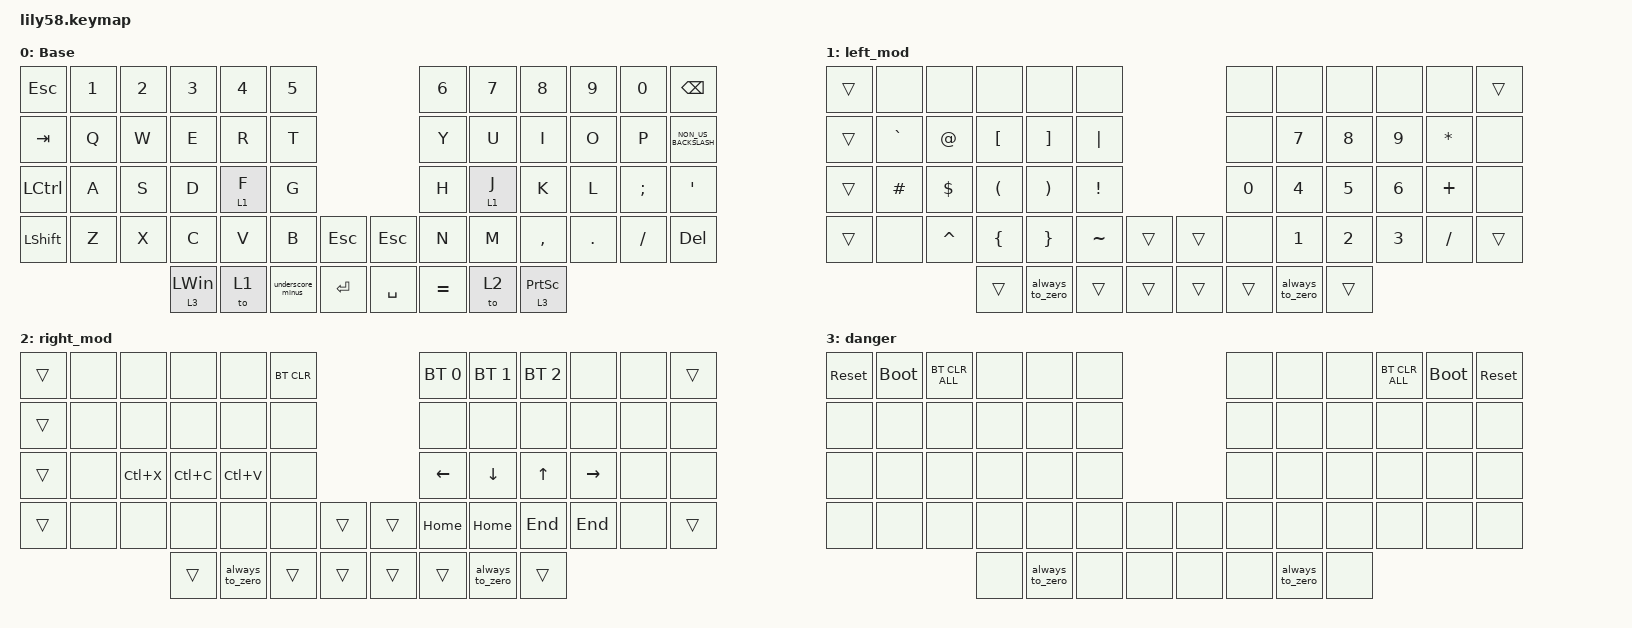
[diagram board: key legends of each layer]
/*
 * Copyright (c) 2020 The ZMK Contributors
 *
 * SPDX-License-Identifier: MIT
 */

#include <behaviors.dtsi>
#include <dt-bindings/zmk/bt.h>
#include <dt-bindings/zmk/keys.h>

/ {
    combos {
        compatible = "zmk,combos";

        test_combo {
            bindings = <&to 1>;
            key-positions = <0>;
        };
    };

    behaviors {
        left_tap_dance: left_tap_dance {
            compatible = "zmk,behavior-tap-dance";
            label = "LEFT_TAP_DANCE";
            #binding-cells = <0>;
            bindings = <&sl 1>, <&to 1>, <&to 0>;

            tapping-term-ms = <500>;
        };

        right_tap_dance: right_tap_dance {
            compatible = "zmk,behavior-tap-dance";
            label = "RIGHT_TAP_DANCE";
            #binding-cells = <0>;
            tapping-term-ms = <500>;
            bindings = <&sl 2>, <&to 2>, <&to 0>;
        };

        hold_layer_change_tap_kp: hold_layer_change_tap_kp {
            compatible = "zmk,behavior-hold-tap";
            label = "HOLD_LAYER_CHANGE_TAP_KP";
            bindings = <&to>, <&kp>;

            #binding-cells = <2>;
            tapping-term-ms = <10000>;
            quick-tap-ms = <1000>;
            require-prior-idle-ms = <10>;
            flavor = "balanced";
        };

        always_to_zero: always_to_zero {
            compatible = "zmk,behavior-tap-dance";
            label = "ALWAYS_TO_ZERO";
            #binding-cells = <0>;
            bindings = <&to 0>, <&to 0>, <&to 0>;
        };

        underscore_minus: underscore_minus {
            compatible = "zmk,behavior-mod-morph";
            label = "UNDERSCORE_MINUS";
            bindings = <&kp UNDERSCORE>, <&kp MINUS>;

            #binding-cells = <0>;
            mods = <(MOD_LSFT)>;
        };
    };

    macros {
        open_close_parenthesis: open_close_parenthesis {
            compatible = "zmk,behavior-macro";
            #binding-cells = <0>;
            bindings = <&kp LEFT_PARENTHESIS &kp RIGHT_PARENTHESIS &kp LEFT_ARROW>;
            label = "OPEN_CLOSE_PARENTHESIS";
        };

        open_close_brackets: open_close_brackets {
            compatible = "zmk,behavior-macro";
            #binding-cells = <0>;
            bindings = <&kp LEFT_BRACE &kp RIGHT_BRACE &kp LEFT_ARROW>;
            label = "OPEN_CLOSE_BRACKETS";
        };

        open_close_square_brackets: open_close_square_brackets {
            compatible = "zmk,behavior-macro";
            #binding-cells = <0>;
            bindings = <&kp LEFT_BRACKET &kp RIGHT_BRACKET &kp LEFT_ARROW>;
            label = "OPEN_CLOSE_SQUARE_BRACKETS";
        };
    };

    keymap {
        compatible = "zmk,keymap";

        default_layer {
            // ------------------------------------------------------------------------------------------------------------
            // |  ESC  |  1  |  2  |  3   |  4   |  5   |                   |  6   |  7    |  8    |  9   |   0   |   `   |
            // |  TAB  |  Q  |  W  |  E   |  R   |  T   |                   |  Y   |  U    |  I    |  O   |   P   |   -   |
            // |  CTRL |  A  |  S  |  D   |  F   |  G   |                   |  H   |  J    |  K    |  L   |   ;   |   '   |
            // | SHIFT |  Z  |  X  |  C   |  V   |  B   |   "["  |  |  "]"  |  N   |  M    |  ,    |  .   |   /   | SHIFT |
            //                     | ALT  | GUI  | LOWER|  SPACE |  | ENTER | RAISE| BSPC  | GUI   |

            display-name = "Base";
            bindings = <
&kp ESC    &kp N1  &kp N2  &kp N3                                &kp N4   &kp N5                                       &kp N6     &kp N7   &kp N8                                   &kp N9   &kp N0    &kp BACKSPACE
&kp TAB    &kp Q   &kp W   &kp E                                 &kp R    &kp T                                        &kp Y      &kp U    &kp I                                    &kp O    &kp P     &kp NON_US_BACKSLASH
&kp LCTRL  &kp A   &kp S   &kp D                                 &lt 1 F  &kp G                                        &kp H      &lt 1 J  &kp K                                    &kp L    &kp SEMI  &kp SQT
&kp LSHFT  &kp Z   &kp X   &kp C                                 &kp V    &kp B              &kp ESCAPE    &kp ESCAPE  &kp N      &kp M    &kp COMMA                                &kp DOT  &kp FSLH  &kp DELETE
                           &hold_layer_change_tap_kp 3 LEFT_WIN  &to 1    &underscore_minus  &kp ENTER     &kp SPACE   &kp EQUAL  &to 2    &hold_layer_change_tap_kp 3 PRINTSCREEN
            >;
        };

        left_mod {
            bindings = <
&trans  &none      &none        &none                 &none                  &none                              &none   &none            &none         &none         &none         &trans
&trans  &kp GRAVE  &kp AT_SIGN  &kp LEFT_BRACKET      &kp RIGHT_BRACKET      &kp PIPE                           &none   &kp N7           &kp N8        &kp N9        &kp ASTERISK  &none
&trans  &kp HASH   &kp DOLLAR   &kp LEFT_PARENTHESIS  &kp RIGHT_PARENTHESIS  &kp EXCLAMATION                    &kp N0  &kp NUMBER_4     &kp N5        &kp NUMBER_6  &kp PLUS      &none
&trans  &none      &kp CARET    &kp LEFT_BRACE        &kp RIGHT_BRACE        &kp TILDE        &trans    &trans  &none   &kp NUMBER_1     &kp NUMBER_2  &kp NUMBER_3  &kp SLASH     &trans
                                &trans                &always_to_zero        &trans           &trans    &trans  &trans  &always_to_zero  &trans
            >;
        };

        right_mod {
            bindings = <
&trans  &none  &none      &none      &none            &bt BT_CLR                    &bt BT_SEL 0  &bt BT_SEL 1     &bt BT_SEL 2  &none      &none  &trans
&trans  &none  &none      &none      &none            &none                         &none         &none            &none         &none      &none  &none
&trans  &none  &kp LC(X)  &kp LC(C)  &kp LC(V)        &none                         &kp LEFT      &kp DOWN         &kp UP        &kp RIGHT  &none  &none
&trans  &none  &none      &none      &none            &none       &trans    &trans  &kp HOME      &kp HOME         &kp END       &kp END    &none  &trans
                          &trans     &always_to_zero  &trans      &trans    &trans  &trans        &always_to_zero  &trans
            >;
        };

        danger {
            bindings = <
&sys_reset  &bootloader  &bt BT_CLR_ALL  &none  &none            &none                  &none  &none            &none  &bt BT_CLR_ALL  &bootloader  &sys_reset
&none       &none        &none           &none  &none            &none                  &none  &none            &none  &none           &none        &none
&none       &none        &none           &none  &none            &none                  &none  &none            &none  &none           &none        &none
&none       &none        &none           &none  &none            &none  &none    &none  &none  &none            &none  &none           &none        &none
                                         &none  &always_to_zero  &none  &none    &none  &none  &always_to_zero  &none
            >;
        };
    };
};
